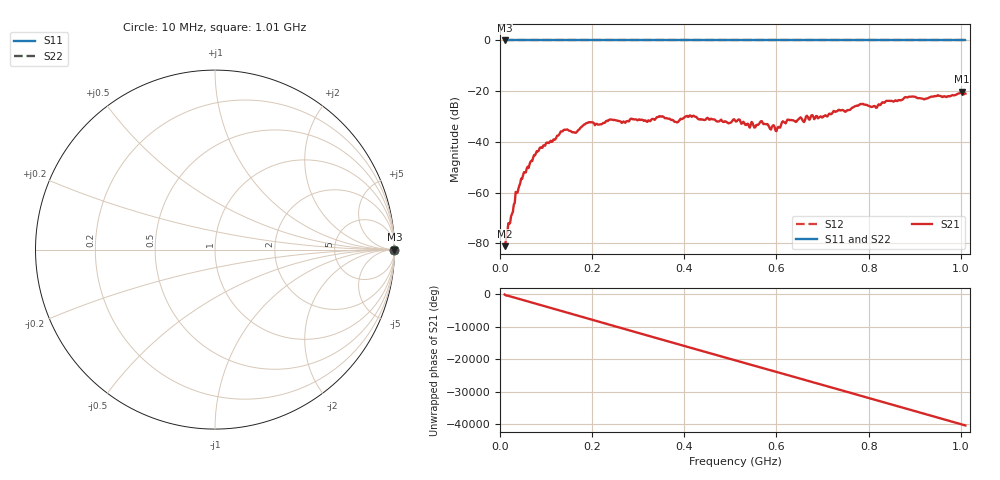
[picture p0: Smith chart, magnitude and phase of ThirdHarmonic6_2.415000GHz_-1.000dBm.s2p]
! 8/17/2025 4:04:50 AM
! C:\ANRITSUVNA\TEMP\TEMP.S2P
! CHANNEL.1
! TR.MEASUREMENT
! RAW.DATA
! RF.CORRECTION.OFF
! AVERAGING.OFF
! IF.BANDWIDTH: 5KHZ
! SWEEPTYPE:  FREQ.SWEEP(Linear)
! Reference Plane Port Info
! PORT:  PORT1  PORT2
! DISTANCE:  0  m  0  m
! TIME:  0  s  0  s
! PHASE.OFFSET:  0  deg.  0  deg.
! LOSS:  0  dB  0  dB
! REF.LOSS:  0  dB  0  dB
! REF.FREQ:  0  Hz  0  Hz
! Power Info
! POWER:  -20  dBm  -20  dBm
! EFF.POWER:  -20  dBm  -20  dBm
! SOURCE.ATTEN:  0  dB  0  dB
! TEST.ATTEN:  0  dB  0  dB
# GHZ S RI R 50.0
! FREQ.GHZ  S11RE  S11IM  S21RE  S21IM  S12RE  S12IM  S22RE  S22IM
!; PortSelection: Port_12
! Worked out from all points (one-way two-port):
!   501 points, 10 MHz to 1.01 GHz, reference 50 ohm
!   highest |S21| = -20.15 dB at 1.002 GHz (marker M1); lowest = -81.1 dB at 10 MHz (marker M2)
!   lowest |S11| = 0.0 dB at 10 MHz (marker M3)
!   |S11| at or under -10 dB: nowhere
!   |S22| runs from 0.0 to 0.0 dB; largest |S21 - S12| = 1.1
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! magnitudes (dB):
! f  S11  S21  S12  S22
! 10 MHz  0.0  -81.1  0.0  0.0
! 38 MHz  0.0  -60.1  0.0  0.0
! 50 MHz  0.0  -53.3  0.0  0.0
! 76 MHz  0.0  -45.3  0.0  0.0
! 136 MHz  0.0  -35.8  0.0  0.0
! 162 MHz  0.0  -36.3  0.0  0.0
! 178 MHz  0.0  -33.9  0.0  0.0
! 240 MHz  0.0  -31.2  0.0  0.0
! 322 MHz  0.0  -31.5  0.0  0.0
! 344 MHz  0.0  -30.1  0.0  0.0
! 382 MHz  0.0  -32.1  0.0  0.0
! 416 MHz  0.0  -30.1  0.0  0.0
! 510 MHz  0.0  -31.5  0.0  0.0
! 554 MHz  0.0  -34.3  0.0  0.0
! 568 MHz  0.0  -31.8  0.0  0.0
! 602 MHz  0.0  -34.4  0.0  0.0
! 626 MHz  0.0  -31.2  0.0  0.0
! 678 MHz  0.0  -29.5  0.0  0.0
! 814 MHz  0.0  -25.9  0.0  0.0
! 844 MHz  0.0  -23.8  0.0  0.0
! 1.002 GHz  0.0  -20.1  0.0  0.0
! 1.01 GHz  0.0  -21.0  0.0  0.0
